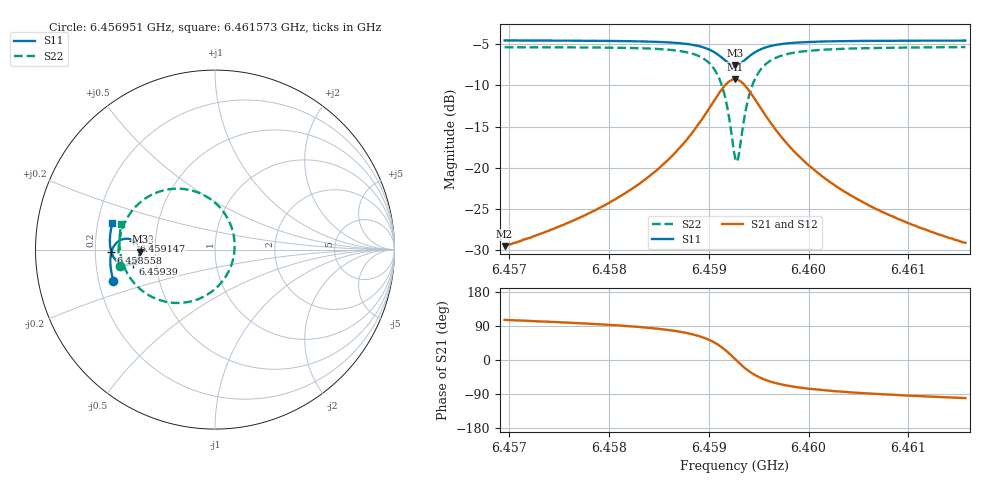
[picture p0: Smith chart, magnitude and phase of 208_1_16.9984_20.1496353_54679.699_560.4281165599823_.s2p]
#  HZ  S  RI  R  50.00
! Rohde & Schwarz Vector Network Analyzer
! Rohde-Schwarz,ZNB20-2Port,1311601062101988,3.16
! Created: UTC 3/20/2024, 11:01:20 PM
! freq[Hz]  re:S11  im:S11  re:S21  im:S21  re:S12  im:S12  re:S22  im:S22
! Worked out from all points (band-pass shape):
!   401 points, 6.456951 GHz to 6.461573 GHz, reference 50 ohm
!   highest |S21| = -9.27 dB at 6.459262 GHz (marker M1); lowest = -29.5 dB at 6.456951 GHz (marker M2)
!   |S21| within 3 dB of the highest: 6.459031 GHz to 6.459494 GHz (462.8 kHz wide, 0.00717 % of centre)
!   lowest |S11| = -7.6 dB at 6.459262 GHz (marker M3), VSWR 2.44, Z = 20.5 - j0.601 ohm
!   |S11| at or under -10 dB: nowhere
!   |S22| runs from -19.2 to -5.4 dB; largest |S21 - S12| = 0.013
!   S11 on the Smith chart (normalised r, x): 6.456951 GHz: 0.26, -0.14; 6.458558 GHz: 0.27, -0.01; 6.459147 GHz: 0.37, +0.05; 6.45939 GHz: 0.37, -0.07; 6.461573 GHz: 0.26, +0.12
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6.4569515e9  -0.5655 -0.1754  -0.00914 0.0322  -0.00733 0.0323  -0.5311 -0.0899
6.4577256e9  -0.5801 -0.1079  -0.00592 0.0501  -0.00338 0.0496  -0.5374 0.00015
6.4581532e9  -0.5832 -0.065  -0.000129 0.0697  0.00313 0.0683  -0.5298 0.0677
6.4584998e9  -0.5796 -0.0237  0.0134 0.0985  0.0176 0.0958  -0.5049 0.1455
6.4585576e9  -0.5778 -0.0157  0.0179 0.1053  0.0218 0.1023  -0.4969 0.1623
6.4587655e9  -0.5649 0.0164  0.0451 0.1379  0.0492 0.1329  -0.446 0.2351
6.4589158e9  -0.5426 0.0428  0.0901 0.1683  0.0933 0.1618  -0.3633 0.3001
6.4590544e9  -0.4989 0.0605  0.1768 0.1853  0.1779 0.178  -0.2049 0.3396
6.4591469e9  -0.4545 0.0506  0.2666 0.1548  0.267 0.1488  -0.0388 0.2901
6.4591931e9  -0.4332 0.0318  0.3103 0.1122  0.3116 0.107  0.044 0.2147
6.4592624e9  -0.4184 -0.0121  0.3437 0.0158  0.3474 0.00893  0.1093 0.0359
6.459274e9  -0.4189 -0.0201  0.3437 -0.00193  0.3475 -0.00949  0.1091 0.00252
6.4592971e9  -0.4222 -0.0357  0.3383 -0.0363  0.3421 -0.0455  0.0985 -0.063
6.4593433e9  -0.4377 -0.0617  0.3103 -0.0962  0.3123 -0.1081  0.0417 -0.1758
6.4593895e9  -0.4596 -0.078  0.2684 -0.1372  0.2677 -0.1503  -0.0424 -0.2505
6.4594819e9  -0.5029 -0.0848  0.1843 -0.1686  0.1784 -0.1802  -0.21 -0.2973
6.4596321e9  -0.5466 -0.0645  0.0965 -0.1554  0.0884 -0.1616  -0.377 -0.2492
6.4597939e9  -0.5681 -0.0371  0.0519 -0.1279  0.0445 -0.1307  -0.4575 -0.1779
6.4600366e9  -0.5809 -0.00148  0.0228 -0.0967  0.0168 -0.0972  -0.5058 -0.096
6.4603832e9  -0.5857 0.0395  0.00663 -0.0701  0.00253 -0.0696  -0.5277 -0.0171
6.4608107e9  -0.5838 0.0825  -0.00114 -0.0516  -0.00399 -0.0509  -0.5323 0.0509
6.4615733e9  -0.5718 0.15  -0.00636 -0.0345  -0.00804 -0.0336  -0.5212 0.1409
